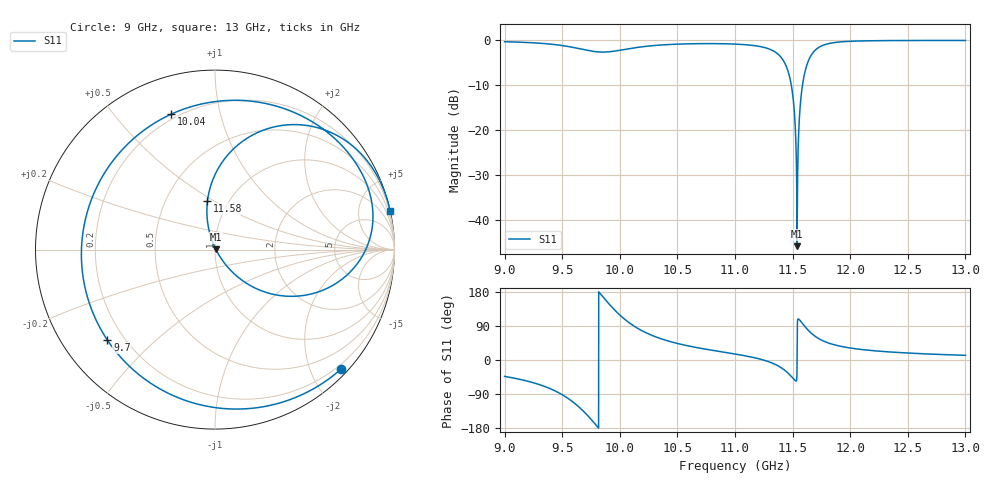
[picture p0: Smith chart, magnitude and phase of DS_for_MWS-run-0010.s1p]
! TOUCHSTONE file generated by CST DESIGN STUDIO
! Date and time: Tue Feb  4 14:30:13 2025
! Project name: C:\Work\MatlabApps\UnitCellOptimizationMatlab\CST\unitcell.cst
! Tree item: Tasks\Sweep1\SPara1\S-Parameters
! Header version: 2024
! Port assignment regex: !\s*Touchstone port\s*([0-9]+)\s*=\s*(CST MWS port|CST DES external port|CST DES block port)\s*(.+)\s* \(\"(.*)\"\)(\s*mode\s*([0-9]+))?.*
! Touchstone port assignment:
! Touchstone port 1 = CST DES external port 1 ("")
# GHz S MA R 50
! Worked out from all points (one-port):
!   4001 points, 9 GHz to 13 GHz, reference 50 ohm
!   lowest |S11| = -45.8 dB at 11.54 GHz (marker M1), VSWR 1.01, Z = 50.5 + j0.0722 ohm
!   |S11| at or under -10 dB: 11.49 GHz to 11.59 GHz (96.6 MHz wide, 0.837 % of centre)
!   S11 on the Smith chart (normalised r, x): 9 GHz: 0.12, -2.51; 9.7 GHz: 0.14, -0.36; 10.04 GHz: 0.18, +0.71; 11.58 GHz: 0.80, +0.47; 13 GHz: 0.04, +9.28
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9  0.9677 -43.3
9.278  0.936 -62.6
9.5  0.8767 -91.6
9.605  0.8306 -113.6
9.7  0.7833 -140.0
9.774  0.7537 -164.7
9.841  0.7418 171.2
10  0.7768 118.7
10.041  0.7932 107.8
10.257  0.8675 67.8
10.5  0.9088 43.7
11  0.9102 15.8
11.325  0.7736 -8.3
11.439  0.536 -28.8
11.475  0.3874 -38.9
11.5  0.2539 -47.1
11.513  0.1748 -51.5
11.525  0.09698 -54.9
11.539  0.005119 8.0
11.553  0.0961 107.8
11.566  0.1863 103.7
11.579  0.274 98.8
11.625  0.5384 81.9
11.698  0.7826 62.0
11.821  0.9267 43.9
12  0.9778 31.7
12.5  0.998 18.4
13  0.9991 12.3
